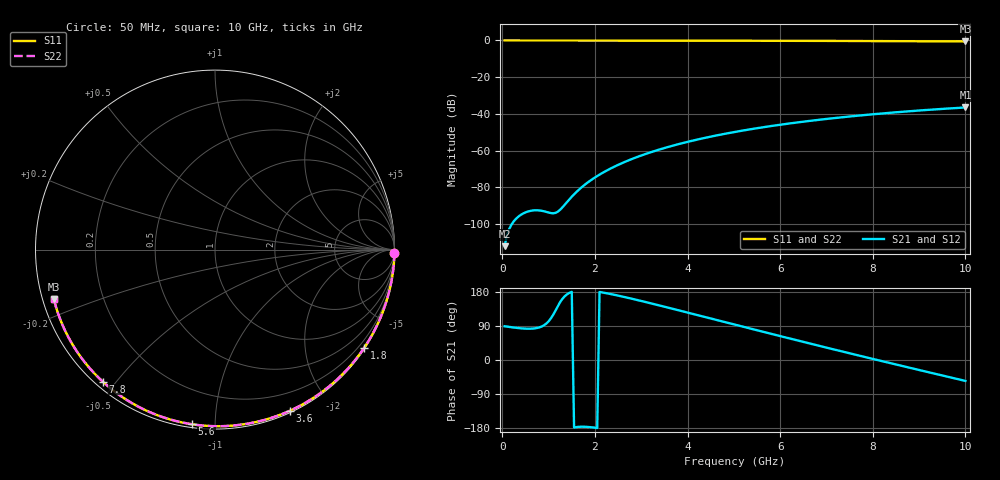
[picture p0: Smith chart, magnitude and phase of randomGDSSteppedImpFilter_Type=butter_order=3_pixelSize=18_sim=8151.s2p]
! freq	dB(S11)	phase(S11)	dB(S12)	phase(S12)
!  dB(S21)	phase(S21)	dB(S22)	phase(S22)
!S-par simulation data
#  GHz  S  DB  R 50
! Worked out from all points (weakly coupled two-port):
!   200 points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, 50 MHz to 10 GHz, reference 50 ohm
!   highest |S21| = -36.50 dB at 10 GHz (marker M1); lowest = -112.0 dB at 50 MHz (marker M2)
!   lowest |S11| = -0.5 dB at 10 GHz (marker M3), VSWR 31.97, Z = 1.6 - j7.46 ohm
!   |S11| at or under -10 dB: nowhere
!   |S22| runs from -0.5 to 0.0 dB; largest |S21 - S12| = 0
!   S11 on the Smith chart (normalised r, x): 50 MHz: open; 1.8 GHz: 0.03, -3.33; 3.6 GHz: 0.02, -1.57; 5.6 GHz: 0.02, -0.88; 7.8 GHz: 0.02, -0.46; 10 GHz: 0.03, -0.15
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0.05  -0.00 -0.9  -112.03 89.1  -112.03 89.1  -0.00 -0.9
0.45  -0.01 -8.5  -94.23 83.1  -94.23 83.1  -0.01 -8.5
0.85  -0.02 -16.0  -92.76 88.3  -92.76 88.3  -0.02 -16.0
1.7  -0.04 -31.6  -80.25 -176.1  -80.25 -176.1  -0.04 -31.6
1.75  -0.04 -32.6  -79.19 -176.0  -79.19 -176.0  -0.04 -32.6
1.8  -0.04 -33.5  -78.19 -176.2  -78.19 -176.2  -0.04 -33.5
1.95  -0.05 -36.2  -75.46 -177.8  -75.46 -177.8  -0.05 -36.2
2.1  -0.05 -38.9  -73.05 179.5  -73.05 179.5  -0.05 -38.9
2.3  -0.05 -42.5  -70.24 175.1  -70.24 175.1  -0.05 -42.5
2.5  -0.06 -46.0  -67.77 170.0  -67.77 170.0  -0.06 -46.0
2.9  -0.07 -53.0  -63.58 158.7  -63.58 158.7  -0.07 -53.0
3.4  -0.08 -61.7  -59.33 143.7  -59.33 143.7  -0.08 -61.7
3.6  -0.09 -65.1  -57.86 137.6  -57.86 137.6  -0.09 -65.1
4.3  -0.11 -76.7  -53.46 115.8  -53.46 115.8  -0.11 -76.7
5.05  -0.14 -88.8  -49.69 92.5  -49.69 92.5  -0.14 -88.8
5.6  -0.16 -97.4  -47.39 75.4  -47.39 75.4  -0.16 -97.4
6.15  -0.19 -105.9  -45.38 58.5  -45.38 58.5  -0.19 -105.9
6.7  -0.22 -114.2  -43.61 41.7  -43.61 41.7  -0.22 -114.2
7.8  -0.31 -130.4  -40.67 8.8  -40.67 8.8  -0.31 -130.4
8.35  -0.36 -138.5  -39.44 -7.4  -39.44 -7.4  -0.36 -138.5
9.2  -0.44 -151.0  -37.79 -32.2  -37.79 -32.2  -0.44 -151.0
10  -0.54 -163.0  -36.50 -55.2  -36.50 -55.2  -0.54 -163.0
